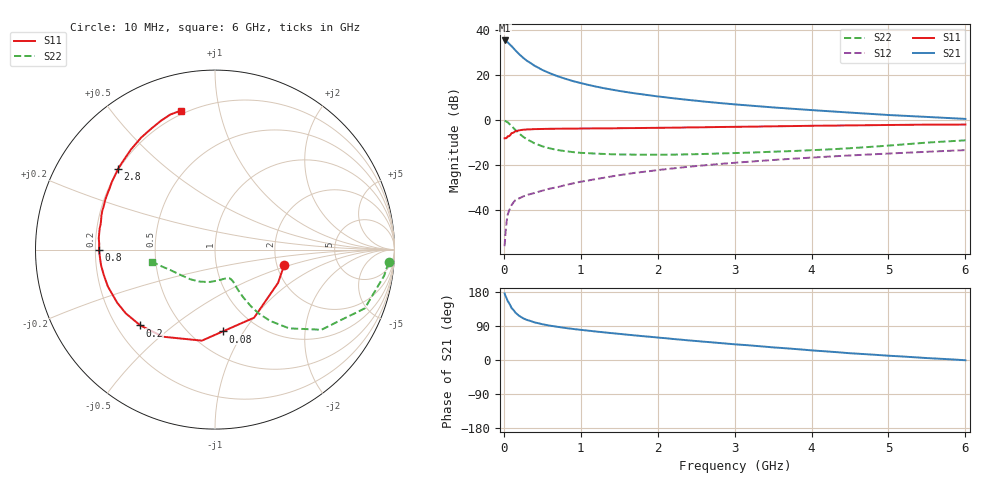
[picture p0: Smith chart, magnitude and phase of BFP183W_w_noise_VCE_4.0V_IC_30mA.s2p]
! Infineon Technologies  Discrete & RF Semiconductors
! BFP183W
! VCE =  4.0 V,  IC =  30 mA
! Common Emitter S-Parameters:  Jan 2017
# GHz  S  MA  R  50
!  f  S11  S21  S12  S22
! GHz  MAG  ANG  MAG  ANG  MAG  ANG  MAG  ANG
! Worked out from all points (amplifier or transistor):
!   77 points, 10 MHz to 6 GHz, reference 50 ohm
!   highest |S21| = 35.3 dB at 10 MHz (marker M1)
!   |S21| within 3 dB of that: start of sweep to 113.7 MHz
!   unconditionally stable (mu >= 1): 897.5 MHz to 3.423 GHz
!   at 130 MHz: K = 0.31, MSG = 34.0 dB, |S12| = -36.3 dB
!   at 2.2 GHz: K = 1.06, MAG = 14.0 dB, |S12| = -21.4 dB
!   at 6 GHz: K = 0.87, MSG = 6.9 dB, |S12| = -13.3 dB
!   lowest NFmin = 1.39 dB at 450 MHz
!   S11 on the Smith chart (normalised r, x): 10 MHz: 2.19, -0.45; 80 MHz: 0.70, -0.81; 200 MHz: 0.30, -0.39; 800 MHz: 0.21, -0.00; 2.8 GHz: 0.20, +0.35; 6 GHz: 0.18, +0.77
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0.01  0.3948 -12.6  58.31 175.5  0.0016 78.7  0.9697 -4.2
0.02  0.3973 -27.8  57.67 169.8  0.0029 99.4  0.9535 -8.8
0.05  0.4374 -60.1  53.24 155.9  0.008 72.4  0.8965 -21.4
0.08  0.4581 -84.6  46.95 145.7  0.0109 63.1  0.7966 -30.0
0.1  0.5125 -98.2  43.77 137.4  0.013 59.3  0.7423 -37.0
0.15  0.5652 -120.8  35.29 125.1  0.0168 52.8  0.6032 -46.7
0.2  0.5931 -134.6  28.83 116.4  0.0184 50.1  0.5022 -52.3
0.25  0.6109 -144.4  24.18 110.2  0.0202 48.2  0.4286 -55.7
0.3  0.6202 -151.5  20.66 105.7  0.0218 47.7  0.3745 -57.6
0.4  0.6313 -161.0  16 99.1  0.0242 49.6  0.3043 -59.5
0.5  0.6358 -167.4  12.95 94.4  0.0272 52.5  0.2622 -60.2
0.6  0.641 -172.4  10.9 90.6  0.0303 53.4  0.2353 -60.4
0.7  0.6427 -176.3  9.373 87.5  0.0326 55.8  0.2165 -60.2
0.8  0.6461 -179.8  8.239 84.5  0.0362 57.7  0.2046 -60.5
1.1  0.6515 172.0  6.023 77.4  0.0458 61.4  0.1846 -62.2
1.5  0.6606 163.3  4.435 69.0  0.06 62.3  0.1731 -67.1
2.1  0.676 151.8  3.198 57.5  0.0813 61.4  0.1709 -79.7
2.8  0.7027 140.4  2.394 44.9  0.1062 58.5  0.1821 -98.5
3.1  0.7114 135.9  2.163 40.0  0.1164 56.7  0.1877 -106.8
4.1  0.7499 122.2  1.624 24.0  0.1507 50.8  0.2187 -132.9
5.1  0.7812 111.8  1.271 10.2  0.1845 44.3  0.2803 -156.9
6  0.7973 103.8  1.063 -0.6  0.2158 38.2  0.3557 -169.1
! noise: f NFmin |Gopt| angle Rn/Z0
0.45  1.39  0.27  180  0.1
0.9  1.43  0.3  -178  0.09
1.9  1.92  0.45  -156  0.1
2.4  2.17  0.5  -152  0.15
